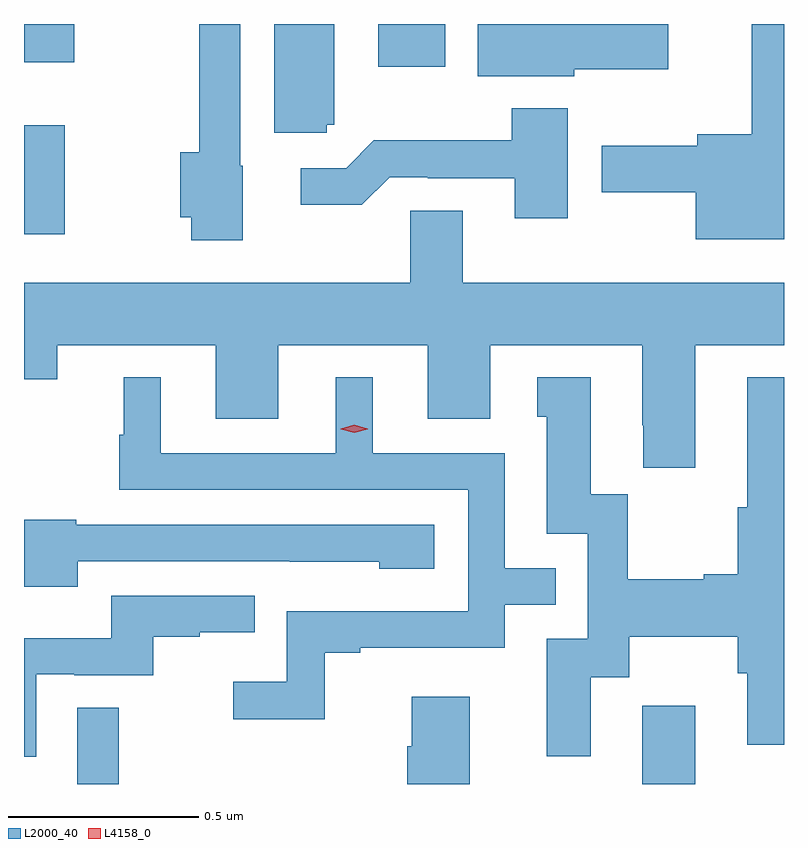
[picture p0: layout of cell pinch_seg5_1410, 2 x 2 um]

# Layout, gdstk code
import gdstk
lib = gdstk.Library(unit=1e-6, precision=1e-09)
def R(c, l, rs):  # rectangles x0, y0, x1, y1
    for r in rs: c.add(gdstk.rectangle(r[:2], r[2:], *l))
def P(c, l, *ps):  # polygons
    for p in ps: c.add(gdstk.Polygon(p, *l))
L2000_40 = (2000, 40)
L4158_0 = (4158, 0)

pinch_seg5_1410 = lib.new_cell('pinch_seg5_1410')
R(pinch_seg5_1410, L2000_40, [(185.046,907.553,185.155,907.754), (186.533,907.553,186.673,907.759), (184.906,909,185.013,909.286), (185.838,909.44,186.015,909.553), (184.906,909.452,185.038,909.553)])
P(pinch_seg5_1410, L2000_40, [(185.703,909.288),(185.722,909.288),(185.722,909.553),(185.564,909.553),(185.564,909.267),(185.703,909.267)],
  [(186.354,909.434),(186.601,909.434),(186.601,909.553),(186.1,909.553),(186.1,909.416),(186.354,909.416)],
  [(185.482,909.18),(185.475,909.18),(185.475,909.553),(185.367,909.553),(185.367,909.215),(185.317,909.215),(185.317,909.044),(185.346,909.044),(185.346,908.984),(185.482,908.984)],
  [(186.906,909.553),(186.821,909.553),(186.821,909.263),(186.678,909.263),(186.678,909.232),(186.426,909.232),(186.426,909.11),(186.674,909.11),(186.674,908.987),(186.906,908.987)],
  [(186.337,909.331),(186.19,909.331),(186.19,909.247),(185.827,909.247),(185.754,909.174),(185.634,909.174),(185.634,909.077),(185.795,909.077),(185.868,909.15),(185.968,909.15),(185.968,909.147),(186.197,909.147),(186.197,909.042),(186.337,909.042)],
  [(186.061,909.062),(185.922,909.062),(185.922,908.872),(184.906,908.872),(184.906,908.618),(184.993,908.618),(184.993,908.708),(185.411,908.708),(185.411,908.514),(185.575,908.514),(185.575,908.708),(185.969,908.708),(185.969,908.514),(186.133,908.514),(186.133,908.708),(186.533,908.708),(186.533,908.497),(186.536,908.497),(186.536,908.385),(186.673,908.385),(186.673,908.708),(186.906,908.708),(186.906,908.872),(186.061,908.872)],
  [(186.397,907.834),(186.499,907.834),(186.499,907.94),(186.784,907.94),(186.784,907.845),(186.809,907.845),(186.809,907.656),(186.906,907.656),(186.906,908.623),(186.809,908.623),(186.809,908.281),(186.784,908.281),(186.784,908.105),(186.695,908.105),(186.695,908.092),(186.495,908.092),(186.495,908.315),(186.397,908.315),(186.397,908.623),(186.257,908.623),(186.257,908.52),(186.281,908.52),(186.281,908.211),(186.39,908.211),(186.39,907.935),(186.281,907.935),(186.281,907.626),(186.397,907.626)],
  [(185.697,907.899),(185.791,907.899),(185.791,907.911),(186.171,907.911),(186.171,908.025),(186.305,908.025),(186.305,908.121),(186.171,908.121),(186.171,908.424),(185.824,908.424),(185.824,908.623),(185.726,908.623),(185.726,908.424),(185.266,908.424),(185.266,908.623),(185.168,908.623),(185.168,908.472),(185.157,908.472),(185.157,908.328),(186.075,908.328),(186.075,908.007),(185.598,908.007),(185.598,907.822),(185.457,907.822),(185.457,907.724),(185.697,907.724)],
  [(185.047,908.139),(185.605,908.139),(185.605,908.138),(185.841,908.138),(185.841,908.12),(185.986,908.12),(185.986,908.235),(185.043,908.235),(185.043,908.248),(184.906,908.248),(184.906,908.072),(185.047,908.072)],
  [(184.938,907.842),(185.038,907.842),(185.038,907.839),(185.246,907.839),(185.246,907.941),(185.369,907.941),(185.369,907.952),(185.513,907.952),(185.513,908.049),(185.136,908.049),(185.136,907.937),(184.906,907.937),(184.906,907.625),(184.938,907.625)],
  [(186.079,907.783),(185.927,907.783),(185.927,907.653),(185.915,907.653),(185.915,907.553),(186.079,907.553)])
P(pinch_seg5_1410, L4158_0, [(185.775,908.478),(185.739,908.487),(185.739,908.488),(185.739,908.488),(185.775,908.498),(185.811,908.488),(185.811,908.488),(185.811,908.487)])

lib.write_gds('pinch_seg5_1410.gds')
